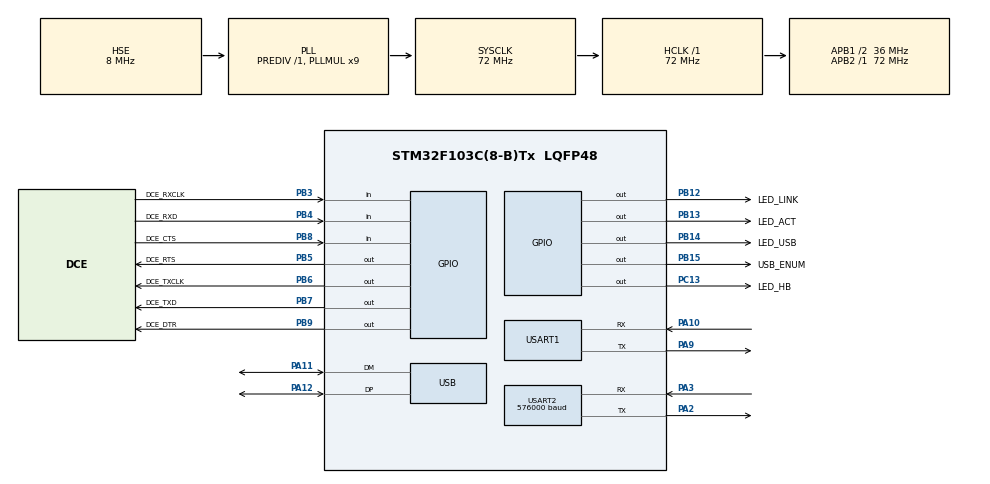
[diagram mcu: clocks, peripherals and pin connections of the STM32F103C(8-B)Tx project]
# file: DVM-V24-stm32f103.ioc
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Dma.Request0=USART2_TX
Dma.Request1=USART1_RX
Dma.USART1_RX.1.Direction=DMA_PERIPH_TO_MEMORY
Dma.USART1_RX.1.Instance=DMA1_Channel5
Dma.USART1_RX.1.MemDataAlignment=DMA_MDATAALIGN_BYTE
Dma.USART1_RX.1.MemInc=DMA_MINC_ENABLE
Dma.USART1_RX.1.Mode=DMA_NORMAL
Dma.USART1_RX.1.PeriphDataAlignment=DMA_PDATAALIGN_BYTE
Dma.USART1_RX.1.PeriphInc=DMA_PINC_DISABLE
Dma.USART1_RX.1.Priority=DMA_PRIORITY_HIGH
Dma.USART2_TX.0.Direction=DMA_MEMORY_TO_PERIPH
Dma.USART2_TX.0.Instance=DMA1_Channel7
Dma.USART2_TX.0.MemDataAlignment=DMA_MDATAALIGN_BYTE
Dma.USART2_TX.0.MemInc=DMA_MINC_ENABLE
Dma.USART2_TX.0.Mode=DMA_NORMAL
Dma.USART2_TX.0.PeriphDataAlignment=DMA_PDATAALIGN_BYTE
Dma.USART2_TX.0.PeriphInc=DMA_PINC_DISABLE
Dma.USART2_TX.0.Priority=DMA_PRIORITY_LOW
IWDG.Prescaler=IWDG_PRESCALER_4
IWDG.Reload=1249
Mcu.Family=STM32F1
Mcu.Name=STM32F103C(8-B)Tx
Mcu.Package=LQFP48
NVIC.DMA1_Channel5_IRQn=true\:4\:0\:true\:false\:true\:false\:true\:true
NVIC.DMA1_Channel7_IRQn=true\:5\:0\:true\:false\:true\:false\:true\:true
NVIC.PriorityGroup=NVIC_PRIORITYGROUP_4
NVIC.TIM2_IRQn=true\:3\:0\:true\:false\:true\:true\:true\:true
NVIC.USART1_IRQn=true\:4\:0\:true\:false\:true\:true\:true\:true
NVIC.USART2_IRQn=true\:6\:0\:true\:false\:true\:true\:true\:true
NVIC.USB_HP_CAN1_TX_IRQn=true\:4\:0\:true\:false\:true\:true\:true\:true
NVIC.USB_LP_CAN1_RX0_IRQn=true\:4\:0\:true\:false\:true\:true\:true\:true
PA10.Mode=Asynchronous
PA10.Signal=USART1_RX
PA11.Mode=Device
PA11.Signal=USB_DM
PA12.Mode=Device
PA12.Signal=USB_DP
PA13.Mode=Serial_Wire
PA13.Signal=SYS_JTMS-SWDIO
PA14.Mode=Serial_Wire
PA14.Signal=SYS_JTCK-SWCLK
PA2.Mode=Asynchronous
PA2.Signal=USART2_TX
PA3.Mode=Asynchronous
PA3.Signal=USART2_RX
PA9.Mode=Asynchronous
PA9.Signal=USART1_TX
PB12.GPIO_Label=LED_LINK
PB12.Signal=GPIO_Output
PB13.GPIO_Label=LED_ACT
PB13.Signal=GPIO_Output
PB14.GPIO_Label=LED_USB
PB14.Signal=GPIO_Output
PB15.GPIO_Label=USB_ENUM
PB15.Signal=GPIO_Output
PB3.GPIO_Label=DCE_RXCLK
PB3.Signal=GPIO_Input
PB4.GPIO_Label=DCE_RXD
PB4.Signal=GPIO_Input
PB5.GPIO_Label=DCE_RTS
PB5.Signal=GPIO_Output
PB6.GPIO_Label=DCE_TXCLK
PB6.Signal=GPIO_Output
PB7.GPIO_Label=DCE_TXD
PB7.Signal=GPIO_Output
PB8.GPIO_Label=DCE_CTS
PB8.Signal=GPIO_Input
PB9.GPIO_Label=DCE_DTR
PB9.Signal=GPIO_Output
PC13-TAMPER-RTC.GPIO_Label=LED_HB
PC13-TAMPER-RTC.Signal=GPIO_Output
PD0-OSC_IN.Mode=HSE-External-Oscillator
PD0-OSC_IN.Signal=RCC_OSC_IN
PD1-OSC_OUT.Mode=HSE-External-Oscillator
PD1-OSC_OUT.Signal=RCC_OSC_OUT
ProjectManager.HeapSize=0x600
ProjectManager.StackSize=0x400
ProjectManager.TargetToolchain=CMake
RCC.AHBFreq_Value=72000000
RCC.APB1CLKDivider=RCC_HCLK_DIV2
RCC.APB1Freq_Value=36000000
RCC.APB1TimFreq_Value=72000000
RCC.APB2Freq_Value=72000000
RCC.APB2TimFreq_Value=72000000
RCC.HCLKFreq_Value=72000000
RCC.PLLMUL=RCC_PLL_MUL9
RCC.PLLSourceVirtual=RCC_PLLSOURCE_HSE
RCC.SYSCLKFreq_VALUE=72000000
RCC.SYSCLKSource=RCC_SYSCLKSOURCE_PLLCLK
RCC.USBFreq_Value=48000000
RCC.USBPrescaler=RCC_USBCLKSOURCE_PLL_DIV1_5
TIM2.AutoReloadPreload=TIM_AUTORELOAD_PRELOAD_ENABLE
TIM2.Period=1875
TIM2.Prescaler=1
USART1.VirtualMode=VM_ASYNC
USART2.BaudRate=576000
USART2.Mode=MODE_TX
USART2.VirtualMode=VM_ASYNC
USB_DEVICE.CLASS_NAME_FS=CDC
USB_DEVICE.VirtualMode=Cdc
USB_DEVICE.VirtualModeFS=Cdc_FS
VP_IWDG_VS_IWDG.Mode=IWDG_Activate
VP_TIM2_VS_ClockSourceINT.Mode=Internal
VP_USB_DEVICE_VS_USB_DEVICE_CDC_FS.Mode=CDC_FS
board=custom

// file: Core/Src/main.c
/* USER CODE BEGIN Header */
/**
 ******************************************************************************
 * @file           : main.c
 * @brief          : Main program body
 ******************************************************************************
 * @attention
 *
 * Copyright (c) 2023 STMicroelectronics.
 * All rights reserved.
 *
 * This software is licensed under terms that can be found in the LICENSE file
 * in the root directory of this software component.
 * If no LICENSE file comes with this software, it is provided AS-IS.
 *
 ******************************************************************************
 */
/* USER CODE END Header */
#include "main.h"
#include "dma.h"
#include "iwdg.h"
#include "tim.h"
#include "usart.h"
#ifdef DVM_V24_V1
#include "usb_device.h"
#endif
#include "gpio.h"

/* USER CODE BEGIN Includes */
#include "leds.h"
#include "log.h"
#include "log.h"
#include "serial.h"
#include "sync.h"
#include "util.h"
#include "vcp.h"
#include "hdlc.h"
/* USER CODE END Includes */

/* USER CODE BEGIN PV */
unsigned long rxValidFrames = 0;
unsigned long rxTotalFrames = 0;
unsigned long txTotalFrames = 0;

// LED timers
unsigned long lastHb = 0;
unsigned long lastSync = 0;

/* USER CODE END PV */

void SystemClock_Config(void);

/* USER CODE BEGIN 0 */

#ifdef DVM_V24_V1 // HB LED is only on DVM-V24 V1 boards
void hbLED()
{
    if (HAL_GetTick() - lastHb > 1000)
    {
        LED_HB(1);
        lastHb = HAL_GetTick();
    }
    else if (HAL_GetTick() - lastHb > 100)
    {
        LED_HB(0);
    }
}
#endif

void linkLED()
{
    if (SyncRxState == SYNCED)
    {
        LED_LINK(1);
    }
    else
    {
        LED_LINK(0);
    }
}

#ifndef DVM_V24_V1

/**
 * @brief Jump to the STM32 USART1 system bootloader
 *
 * Taken from the dvmfirmware-hs function of the same name
 */
void jumpToBootloader()
{
    // De-init RCC
    HAL_RCC_DeInit();

    // De-init TIM2
    //HAL_TIM_Base_DeInit(&htim2);

    // De-init USART1 & 2 (also de-inits DMA)
    HAL_UART_MspDeInit(&huart1);
    HAL_UART_MspDeInit(&huart2);

    // Disable Systick timer
    SysTick->CTRL = 0;
    SysTick->LOAD = 0;
    SysTick->VAL = 0;

    // Clear Interrupt Enable Register & Interrupt Pending Register
    for (uint8_t i = 0; i < sizeof(NVIC->ICER) / sizeof(NVIC->ICER[0]); i++)
    {
        NVIC->ICER[i] = 0xFFFFFFFF;
        NVIC->ICPR[i] = 0xFFFFFFFF;
    }

    volatile uint32_t addr = 0x1FFFF000;

    // Update the NVIC's vector
    SCB->VTOR = addr;

    void (*SysMemBootJump)(void);
    SysMemBootJump = (void (*)(void))(*((uint32_t *)(addr + 4)));
    __ASM volatile("MSR msp, %0" : : "r"(*(uint32_t *)addr) : "sp"); // __set_MSP
    SysMemBootJump();
}

#endif

/* USER CODE END 0 */

int main(void)
{

    /* USER CODE BEGIN 1 */
#ifndef DVM_V24_V1
    // Check if we need to jump straight to the system bootloader (borrowed from dvmfirmware-hs main())
    if ((STM32_CNF_PAGE[STM32_CNF_PAGE_24] != 0xFFFFFFFFU) && (STM32_CNF_PAGE[STM32_CNF_PAGE_24] != 0x00U))
    {
        // Check if the bootload mode flag is set
        uint8_t bootloadMode = (STM32_CNF_PAGE[STM32_CNF_PAGE_24] >> 8) & 0xFFU;
        if ((bootloadMode & 0x20U) == 0x20U)
        {
            // Setup the erase struct
            static FLASH_EraseInitTypeDef EraseInitStruct;
            // Storage for errors from the erase command
            uint32_t sectorError;
            // Unlock Flash
            HAL_FLASH_Unlock();
            // Clear the config page
            EraseInitStruct.TypeErase = FLASH_TYPEERASE_PAGES;
            EraseInitStruct.PageAddress = STM32_CNF_PAGE_ADDR;
            EraseInitStruct.NbPages = 1;
            if (HAL_FLASHEx_Erase(&EraseInitStruct, &sectorError) != HAL_OK)
            {
                HAL_FLASH_Lock();
                return HAL_FLASH_GetError();
            }
            // Jump
            jumpToBootloader();
        }
    }
#endif
    /* USER CODE END 1 */

    /* MCU Configuration--------------------------------------------------------*/

    /* Reset of all peripherals, Initializes the Flash interface and the Systick. */
    HAL_Init();

    /* Configure the system clock */
    SystemClock_Config();

    /* Initialize all configured peripherals */
    MX_GPIO_Init();
    MX_DMA_Init();
    MX_USART2_UART_Init();
    MX_TIM2_Init();
#ifdef DVM_V24_V1
    MX_USB_DEVICE_Init();
#else
    MX_USART1_UART_Init();
#endif
    MX_IWDG_Init();
    /* USER CODE BEGIN 2 */
    // Init stuff
    log_set_uart(&huart2);
    // SerialClear(&huart2);
    SerialStartup(&huart2);

// Enumerate the VCP
// log_info("Enumerating USB VCP");
#ifdef DVM_V24_V1
    VCPEnumerate();
#endif

    // Start sync serial handler
    log_info("Starting synchronous serial handler");
    SyncStartup(&htim2);

    // Done!
    log_info("Startup complete");
    VCPWriteDebug1("Startup complete");
    SyncReset();

// Warn that watchdog is disbaled
#ifdef DISABLE_WATCHDOG
    log_warn("System watchdog timers disbaled!");
#endif

    /* USER CODE END 2 */

    /* Infinite loop */
    /* USER CODE BEGIN WHILE */
    while (1)
    {
        // Processing callbacks
        RxMessageCallback();
        HdlcCallback();
        VCPRxCallback();
        VCPTxCallback();
        SerialCallback(&huart2);
// LED callbacks
#ifdef DVM_V24_V1
        hbLED();
#endif
        linkLED();
// Refresh the IWDG watchdog
#ifndef DISABLE_WATCHDOG
        HAL_IWDG_Refresh(&hiwdg);
#endif
        /* USER CODE END WHILE */

    }
}

void SystemClock_Config(void)
{
    RCC_OscInitTypeDef RCC_OscInitStruct = {0};
    RCC_ClkInitTypeDef RCC_ClkInitStruct = {0};
    RCC_PeriphCLKInitTypeDef PeriphClkInit = {0};

    /** Initializes the RCC Oscillators according to the specified parameters
     * in the RCC_OscInitTypeDef structure.
     */
    RCC_OscInitStruct.OscillatorType = RCC_OSCILLATORTYPE_LSI | RCC_OSCILLATORTYPE_HSE;
    RCC_OscInitStruct.HSEState = RCC_HSE_ON;
    RCC_OscInitStruct.HSEPredivValue = RCC_HSE_PREDIV_DIV1;
    RCC_OscInitStruct.HSIState = RCC_HSI_ON;
    RCC_OscInitStruct.LSIState = RCC_LSI_ON;
    RCC_OscInitStruct.PLL.PLLState = RCC_PLL_ON;
    RCC_OscInitStruct.PLL.PLLSource = RCC_PLLSOURCE_HSE;
    RCC_OscInitStruct.PLL.PLLMUL = RCC_PLL_MUL9;
    if (HAL_RCC_OscConfig(&RCC_OscInitStruct) != HAL_OK)
    {
        Error_Handler();
    }

    /** Initializes the CPU, AHB and APB buses clocks
     */
    RCC_ClkInitStruct.ClockType = RCC_CLOCKTYPE_HCLK | RCC_CLOCKTYPE_SYSCLK | RCC_CLOCKTYPE_PCLK1 | RCC_CLOCKTYPE_PCLK2;
    RCC_ClkInitStruct.SYSCLKSource = RCC_SYSCLKSOURCE_PLLCLK;
    RCC_ClkInitStruct.AHBCLKDivider = RCC_SYSCLK_DIV1;
    RCC_ClkInitStruct.APB1CLKDivider = RCC_HCLK_DIV2;
    RCC_ClkInitStruct.APB2CLKDivider = RCC_HCLK_DIV1;

    if (HAL_RCC_ClockConfig(&RCC_ClkInitStruct, FLASH_LATENCY_2) != HAL_OK)
    {
        Error_Handler();
    }
    PeriphClkInit.PeriphClockSelection = RCC_PERIPHCLK_USB;
    PeriphClkInit.UsbClockSelection = RCC_USBCLKSOURCE_PLL_DIV1_5;
    if (HAL_RCCEx_PeriphCLKConfig(&PeriphClkInit) != HAL_OK)
    {
        Error_Handler();
    }
}

/* USER CODE BEGIN 4 */

// Override for calling sync callback
void HAL_TIM_PeriodElapsedCallback(TIM_HandleTypeDef *htim)
{
    SyncTimerCallback();
}

/**
 * @brief Reset the STM32
 *
 */
void ResetMCU()
{
    //log_warn("MCU is resetting!");
    //HAL_Delay(250);
    LED_ACT(0);
    LED_LINK(0);
#ifdef DVM_V24_V1
    LED_HB(0);
    LED_USB(0);
#else
    LED_USB_RX(0);
    LED_USB_TX(0);
#endif
    HAL_Delay(250);
    HAL_NVIC_SystemReset();
}

/* USER CODE END 4 */

void Error_Handler(void)
{
    __disable_irq();
    while (1)
    {
    }
}
